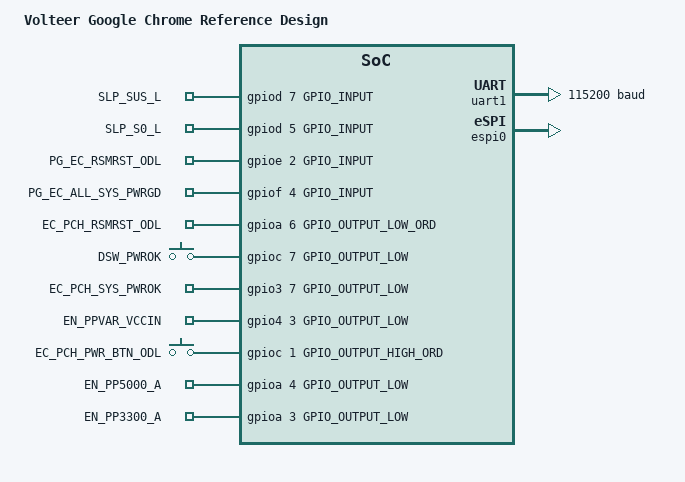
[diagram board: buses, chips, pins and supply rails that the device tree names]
/*
 * Copyright (c) 2020 Intel Corporation.
 *
 * SPDX-License-Identifier: Apache-2.0
 */

/dts-v1/;

#include <nuvoton/npcx7m6fb.dtsi>

/ {
	model= "Volteer Google Chrome Reference Design";

	chosen {
		zephyr,sram = &sram0;
		zephyr,console = &uart1;
		zephyr,flash = &flash0;
	};

	pow_seq_gpio_keys {
		compatible = "gpio-keys";

		/* Interrupts */
		slpsus: GPIOD7 {
			label = "SLP_SUS_L";
			gpios = <&gpiod 7 GPIO_INPUT>;
		};
		slps0: GPIOD5 {
			label = "SLP_S0_L";
			gpios = <&gpiod 5 GPIO_INPUT>;
		};
		rsmrstin: GPIOE2 {
			label = "PG_EC_RSMRST_ODL";
			gpios = <&gpioe 2 GPIO_INPUT>;
		};
		allsyspwrgd: GPIOF4 {
			label = "PG_EC_ALL_SYS_PWRGD";
			gpios = <&gpiof 4 GPIO_INPUT>;
		};

		/* Pass-through output signals */
		rsmrstout: GPIOA6 {
			label = "EC_PCH_RSMRST_ODL";
			gpios = <&gpioa 6 GPIO_OUTPUT_LOW_ORD>;
		};
		dswpwrokout: GPIOC7 {
			label = "DSW_PWROK";
			gpios = <&gpioc 7 GPIO_OUTPUT_LOW>;
		};
		syspwrok: GPIO37 {
			label = "EC_PCH_SYS_PWROK";
			gpios = <&gpio3 7 GPIO_OUTPUT_LOW>;
		};
		vccin: GPIO43 {
			label = "EN_PPVAR_VCCIN";
			gpios = <&gpio4 3 GPIO_OUTPUT_LOW>;
		};

		/* Output signals */
		pchpwrbtn: GPIOC1 {
			label = "EC_PCH_PWR_BTN_ODL";
			gpios = <&gpioc 1 GPIO_OUTPUT_HIGH_ORD>;
		};
		enpp5p0: GPIOA4 {
			label = "EN_PP5000_A";
			gpios = <&gpioa 4 GPIO_OUTPUT_LOW>;
		};
		enpp3p3: GPIOA3 {
			label = "EN_PP3300_A";
			gpios = <&gpioa 3 GPIO_OUTPUT_LOW>;
		};
	};
};

/* Overwirte default device properties with overlays in board dt file here. */
&uart1 {
	status = "okay";
	current-speed = <115200>;
	pinctrl = <&altc_uart1_sl2>; /* Use UART1_SL2 ie. PIN64.65 */
};

&espi0 {
	status = "okay";
};
